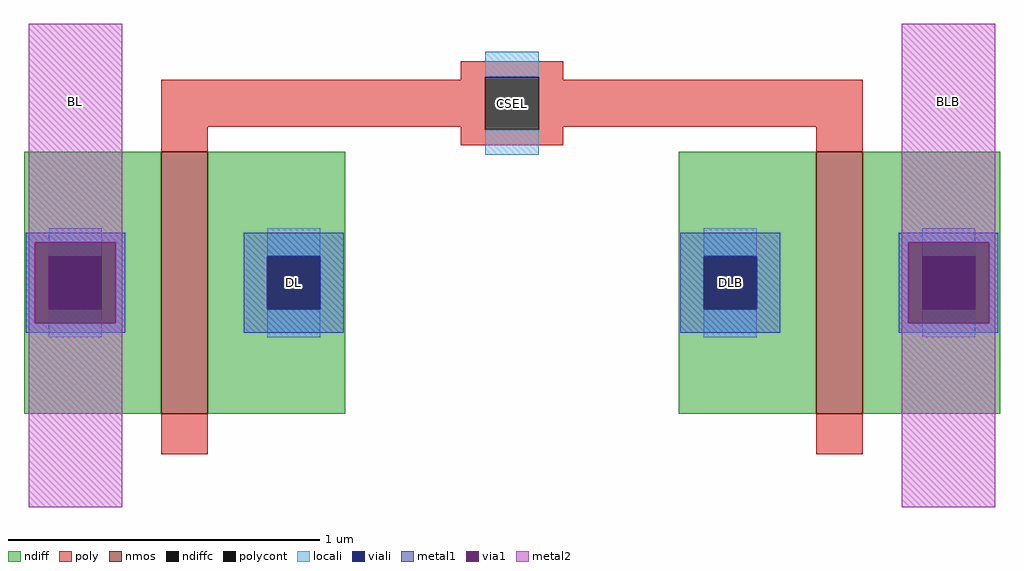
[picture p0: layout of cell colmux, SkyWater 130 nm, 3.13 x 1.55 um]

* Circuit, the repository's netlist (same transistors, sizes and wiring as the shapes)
.subckt colmux bl blb dl dlb csel vss
XXN1 bl csel dl vss sky130_fd_pr__nfet_01v8 L=0.15 W=0.84 nf=1 m=1
XXN2 blb csel dlb vss sky130_fd_pr__nfet_01v8 L=0.15 W=0.84 nf=1 m=1
.ends

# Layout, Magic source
magic
tech sky130A
magscale 1 2
<< nmos >>
rect 55 60 85 228
rect 475 60 505 228
<< ndiff >>
rect -33 161 55 228
rect -33 127 -17 161
rect 17 127 55 161
rect -33 60 55 127
rect 85 161 173 228
rect 85 127 123 161
rect 157 127 173 161
rect 85 60 173 127
rect 387 161 475 228
rect 387 127 403 161
rect 437 127 475 161
rect 387 60 475 127
rect 505 161 593 228
rect 505 127 543 161
rect 577 127 593 161
rect 505 60 593 127
<< ndiffc >>
rect -17 127 17 161
rect 123 127 157 161
rect 403 127 437 161
rect 543 127 577 161
<< poly >>
rect 247 276 313 286
rect 247 274 263 276
rect 55 244 263 274
rect 55 228 85 244
rect 247 242 263 244
rect 297 274 313 276
rect 297 244 505 274
rect 297 242 313 244
rect 247 232 313 242
rect 475 228 505 244
rect 55 34 85 60
rect 475 34 505 60
<< polycont >>
rect 263 242 297 276
<< locali >>
rect 263 276 297 292
rect 263 226 297 242
rect -17 161 17 179
rect -17 109 17 127
rect 123 161 157 179
rect 123 109 157 127
rect 403 161 437 179
rect 403 109 437 127
rect 543 161 577 179
rect 543 109 577 127
<< viali >>
rect -17 127 17 161
rect 123 127 157 161
rect 403 127 437 161
rect 543 127 577 161
<< metal1 >>
rect -32 170 32 176
rect -32 118 -26 170
rect 26 118 32 170
rect -32 112 32 118
rect 108 161 172 176
rect 108 127 123 161
rect 157 127 172 161
rect 108 112 172 127
rect 388 161 452 176
rect 388 127 403 161
rect 437 127 452 161
rect 388 112 452 127
rect 528 170 592 176
rect 528 118 534 170
rect 586 118 592 170
rect 528 112 592 118
<< via1 >>
rect -26 161 26 170
rect -26 127 -17 161
rect -17 127 17 161
rect 17 127 26 161
rect -26 118 26 127
rect 534 161 586 170
rect 534 127 543 161
rect 543 127 577 161
rect 577 127 586 161
rect 534 118 586 127
<< metal2 >>
rect -30 170 30 310
rect -30 118 -26 170
rect 26 118 30 170
rect -30 0 30 118
rect 530 170 590 310
rect 530 118 534 170
rect 586 118 590 170
rect 530 0 590 118
<< labels >>
rlabel metal2 0 260 0 260 0 BL
port 1 nsew
rlabel viali 140 144 140 144 0 DL
port 2 nsew
rlabel metal2 560 260 560 260 0 BLB
port 3 nsew
rlabel viali 420 144 420 144 0 DLB
port 4 nsew
rlabel polycont 280 259 280 259 0 CSEL
port 5 nsew
<< end >>
